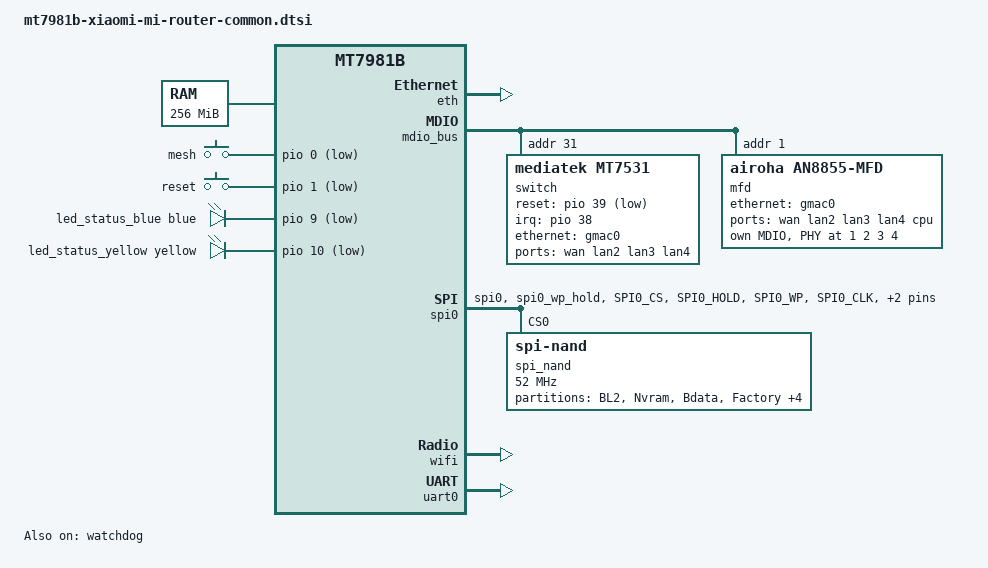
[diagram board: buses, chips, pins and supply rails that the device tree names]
// SPDX-License-Identifier: GPL-2.0-or-later OR MIT

/dts-v1/;
#include <dt-bindings/input/input.h>
#include <dt-bindings/gpio/gpio.h>

#include "mt7981b.dtsi"

/ {
	aliases {
		serial0 = &uart0;
		led-boot = &led_status_yellow;
		led-failsafe = &led_status_yellow;
		led-running = &led_status_blue;
		led-upgrade = &led_status_yellow;
	};

	chosen {
		stdout-path = "serial0:115200n8";
	};

	memory@40000000 {
		reg = <0 0x40000000 0 0x10000000>;
		device_type = "memory";
	};

	gpio-keys {
		compatible = "gpio-keys";

		button-mesh {
			label = "mesh";
			gpios = <&pio 0 GPIO_ACTIVE_LOW>;
			linux,code = <BTN_9>;
			linux,input-type = <EV_SW>;
		};

		button-reset {
			label = "reset";
			gpios = <&pio 1 GPIO_ACTIVE_LOW>;
			linux,code = <KEY_RESTART>;
		};
	};

	leds: leds {
		compatible = "gpio-leds";

		led_status_blue: led-status-blue {
			color = <LED_COLOR_ID_BLUE>;
			function = LED_FUNCTION_STATUS;
			gpios = <&pio 9 GPIO_ACTIVE_LOW>;
		};

		led_status_yellow: led-status-yellow {
			color = <LED_COLOR_ID_YELLOW>;
			function = LED_FUNCTION_STATUS;
			gpios = <&pio 10 GPIO_ACTIVE_LOW>;
		};
	};
};

&eth {
	status = "okay";

	gmac0: mac@0 {
		compatible = "mediatek,eth-mac";
		reg = <0>;
		phy-mode = "2500base-x";

		fixed-link {
			speed = <2500>;
			full-duplex;
			pause;
		};
	};
};

&mdio_bus {
	switch: switch@1f {
		compatible = "mediatek,mt7531";
		reg = <31>;
		reset-gpios = <&pio 39 GPIO_ACTIVE_LOW>;
		interrupt-controller;
		#interrupt-cells = <1>;
		interrupt-parent = <&pio>;
		interrupts = <38 IRQ_TYPE_LEVEL_HIGH>;
	};

	mfd: mfd@1 {
		compatible = "airoha,an8855-mfd";
		reg = <1>;
	};
};

&switch {
	ports {
		#address-cells = <1>;
		#size-cells = <0>;

		port@0 {
			reg = <0>;
			label = "wan";
		};

		port@1 {
			reg = <1>;
			label = "lan2";
		};

		port@2 {
			reg = <2>;
			label = "lan3";
		};

		port@3 {
			reg = <3>;
			label = "lan4";
		};

		port@6 {
			reg = <6>;
			ethernet = <&gmac0>;
			phy-mode = "2500base-x";

			fixed-link {
				speed = <2500>;
				full-duplex;
				pause;
			};
		};
	};
};

&mfd {
	efuse {
		compatible = "airoha,an8855-efuse";
		#nvmem-cell-cells = <0>;

		nvmem-layout {
			compatible = "fixed-layout";
			#address-cells = <1>;
			#size-cells = <1>;

			shift_sel_port0_tx_a: shift-sel-port0-tx-a@c {
				reg = <0xc 0x4>;
			};

			shift_sel_port0_tx_b: shift-sel-port0-tx-b@10 {
				reg = <0x10 0x4>;
			};

			shift_sel_port0_tx_c: shift-sel-port0-tx-c@14 {
				reg = <0x14 0x4>;
			};

			shift_sel_port0_tx_d: shift-sel-port0-tx-d@18 {
				reg = <0x18 0x4>;
			};

			shift_sel_port1_tx_a: shift-sel-port1-tx-a@1c {
				reg = <0x1c 0x4>;
			};

			shift_sel_port1_tx_b: shift-sel-port1-tx-b@20 {
				reg = <0x20 0x4>;
			};

			shift_sel_port1_tx_c: shift-sel-port1-tx-c@24 {
				reg = <0x24 0x4>;
			};

			shift_sel_port1_tx_d: shift-sel-port1-tx-d@28 {
				reg = <0x28 0x4>;
			};

			shift_sel_port2_tx_a: shift-sel-port2-tx-a@2c {
				reg = <0x2c 0x4>;
			};

			shift_sel_port2_tx_b: shift-sel-port2-tx-b@30 {
				reg = <0x30 0x4>;
			};

			shift_sel_port2_tx_c: shift-sel-port2-tx-c@34 {
				reg = <0x34 0x4>;
			};

			shift_sel_port2_tx_d: shift-sel-port2-tx-d@38 {
				reg = <0x38 0x4>;
			};

			shift_sel_port3_tx_a: shift-sel-port3-tx-a@4c {
				reg = <0x4c 0x4>;
			};

			shift_sel_port3_tx_b: shift-sel-port3-tx-b@50 {
				reg = <0x50 0x4>;
			};

			shift_sel_port3_tx_c: shift-sel-port3-tx-c@54 {
				reg = <0x54 0x4>;
			};

			shift_sel_port3_tx_d: shift-sel-port3-tx-d@58 {
				reg = <0x58 0x4>;
			};
		};
	};

	ethernet-switch {
		compatible = "airoha,an8855-switch";
		reset-gpios = <&pio 39 GPIO_ACTIVE_HIGH>;
		airoha,ext-surge;

		ports {
			#address-cells = <1>;
			#size-cells = <0>;

			port@0 {
				reg = <0>;
				label = "wan";
				phy-mode = "internal";
				phy-handle = <&internal_phy1>;
			};

			port@1 {
				reg = <1>;
				label = "lan2";
				phy-mode = "internal";
				phy-handle = <&internal_phy2>;
			};

			port@2 {
				reg = <2>;
				label = "lan3";
				phy-mode = "internal";
				phy-handle = <&internal_phy3>;
			};

			port@3 {
				reg = <3>;
				label = "lan4";
				phy-mode = "internal";
				phy-handle = <&internal_phy4>;
			};

			port@5 {
				reg = <5>;
				label = "cpu";
				ethernet = <&gmac0>;
				phy-mode = "2500base-x";

				fixed-link {
					speed = <2500>;
					full-duplex;
					pause;
				};
			};
		};
	};

	mdio {
		compatible = "airoha,an8855-mdio";
		#address-cells = <1>;
		#size-cells = <0>;

		internal_phy1: phy@1 {
			reg = <1>;

			nvmem-cells = <&shift_sel_port0_tx_a>,
					<&shift_sel_port0_tx_b>,
					<&shift_sel_port0_tx_c>,
					<&shift_sel_port0_tx_d>;
			nvmem-cell-names = "tx_a", "tx_b", "tx_c", "tx_d";
		};

		internal_phy2: phy@2 {
			reg = <2>;

			nvmem-cells = <&shift_sel_port1_tx_a>,
					<&shift_sel_port1_tx_b>,
					<&shift_sel_port1_tx_c>,
					<&shift_sel_port1_tx_d>;
			nvmem-cell-names = "tx_a", "tx_b", "tx_c", "tx_d";
		};

		internal_phy3: phy@3 {
			reg = <3>;

			nvmem-cells = <&shift_sel_port2_tx_a>,
					<&shift_sel_port2_tx_b>,
					<&shift_sel_port2_tx_c>,
					<&shift_sel_port2_tx_d>;
			nvmem-cell-names = "tx_a", "tx_b", "tx_c", "tx_d";
		};

		internal_phy4: phy@4 {
			reg = <4>;

			nvmem-cells = <&shift_sel_port3_tx_a>,
					<&shift_sel_port3_tx_b>,
					<&shift_sel_port3_tx_c>,
					<&shift_sel_port3_tx_d>;
			nvmem-cell-names = "tx_a", "tx_b", "tx_c", "tx_d";
		};
	};
};

&spi0 {
	pinctrl-names = "default";
	pinctrl-0 = <&spi0_flash_pins>;
	status = "okay";

	spi_nand: flash@0 {
		#address-cells = <1>;
		#size-cells = <1>;
		compatible = "spi-nand";
		reg = <0>;

		spi-cal-enable;
		spi-cal-mode = "read-data";
		spi-cal-datalen = <7>;
		spi-cal-data = /bits/ 8 <0x53 0x50 0x49 0x4e 0x41 0x4e 0x44>;
		spi-cal-addrlen = <5>;
		spi-cal-addr = /bits/ 32 <0x0 0x0 0x0 0x0 0x0>;

		spi-max-frequency = <52000000>;
		spi-tx-bus-width = <4>;
		spi-rx-bus-width = <4>;

		partitions: partitions {
			compatible = "fixed-partitions";
			#address-cells = <1>;
			#size-cells = <1>;

			partition@0 {
				label = "BL2";
				reg = <0x00 0x100000>;
				read-only;
			};

			partition@100000 {
				label = "Nvram";
				reg = <0x100000 0x40000>;
			};

			partition@140000 {
				label = "Bdata";
				reg = <0x140000 0x40000>;
			};

			factory: partition@180000 {
				label = "Factory";
				reg = <0x180000 0x200000>;
				read-only;

				nvmem-layout {
					compatible = "fixed-layout";
					#address-cells = <1>;
					#size-cells = <1>;

					eeprom_factory_0: eeprom@0 {
						reg = <0x0 0x1000>;
					};

					macaddr_factory_4: macaddr@4 {
						compatible = "mac-base";
						reg = <0x4 0x6>;
						#nvmem-cell-cells = <1>;
					};
				};
			};

			partition@380000 {
				label = "FIP";
				reg = <0x380000 0x200000>;
				read-only;
			};

			partition@580000 {
				label = "crash";
				reg = <0x580000 0x40000>;
				read-only;
			};

			partition@5c0000 {
				label = "crash_log";
				reg = <0x5c0000 0x40000>;
				read-only;
			};

			partition@7600000 {
				label = "KF";
				reg = <0x7600000 0x40000>;
				read-only;
			};
		};
	};
};

&pio {
	spi0_flash_pins: spi0-pins {
		mux {
			function = "spi";
			groups = "spi0", "spi0_wp_hold";
		};

		conf-pu {
			pins = "SPI0_CS", "SPI0_HOLD", "SPI0_WP";
			drive-strength = <MTK_DRIVE_8mA>;
			bias-pull-up = <MTK_PUPD_SET_R1R0_11>;
		};

		conf-pd {
			pins = "SPI0_CLK", "SPI0_MOSI", "SPI0_MISO";
			drive-strength = <MTK_DRIVE_8mA>;
			bias-pull-down = <MTK_PUPD_SET_R1R0_11>;
		};
	};
};

&wifi {
	status = "okay";
	nvmem-cells = <&eeprom_factory_0>;
	nvmem-cell-names = "eeprom";
};

&uart0 {
	status = "okay";
};

&watchdog {
	status = "okay";
};
